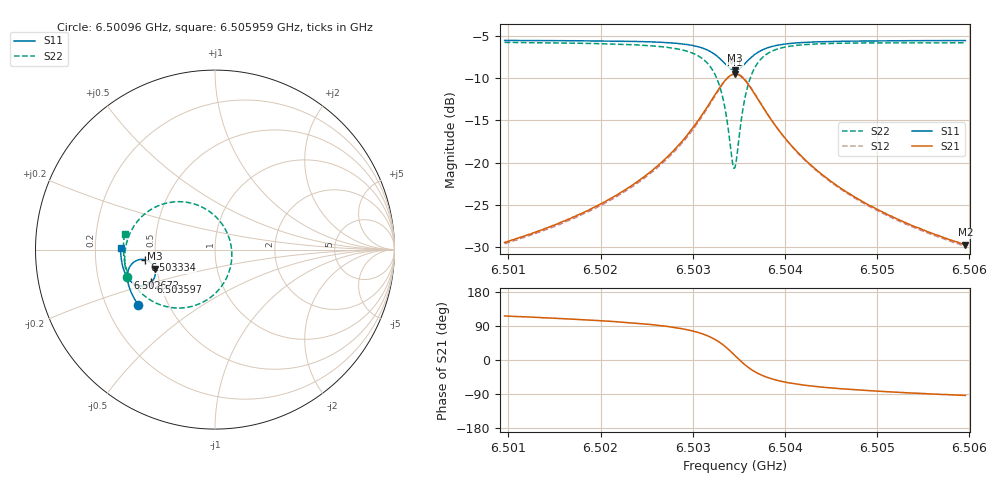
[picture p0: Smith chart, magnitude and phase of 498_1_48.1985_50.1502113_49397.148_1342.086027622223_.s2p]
#  HZ  S  RI  R  50.00
! Rohde & Schwarz Vector Network Analyzer
! Rohde-Schwarz,ZNB20-2Port,1311601062101988,3.16
! Created: UTC 3/20/2024, 11:58:20 AM
! freq[Hz]  re:S11  im:S11  re:S21  im:S21  re:S12  im:S12  re:S22  im:S22
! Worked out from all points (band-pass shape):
!   401 points, 6.50096 GHz to 6.505959 GHz, reference 50 ohm
!   highest |S21| = -9.54 dB at 6.503459 GHz (marker M1); lowest = -29.7 dB at 6.505959 GHz (marker M2)
!   |S21| within 3 dB of the highest: 6.50321 GHz to 6.50371 GHz (500 kHz wide, 0.00769 % of centre)
!   lowest |S11| = -9.1 dB at 6.503459 GHz (marker M3), VSWR 2.08, Z = 24.4 - j5.91 ohm
!   |S11| at or under -10 dB: nowhere
!   |S22| runs from -20.7 to -5.8 dB; largest |S21 - S12| = 0.011
!   S11 on the Smith chart (normalised r, x): 6.50096 GHz: 0.34, -0.29; 6.502672 GHz: 0.33, -0.14; 6.503334 GHz: 0.44, -0.06; 6.503597 GHz: 0.45, -0.19; 6.505959 GHz: 0.31, +0.01
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6.5009596e9  -0.4265 -0.3098  -0.0149 0.0302  -0.0133 0.0304  -0.4897 -0.1545
6.5017969e9  -0.4625 -0.2479  -0.0142 0.0481  -0.012 0.0476  -0.503 -0.0655
6.5022593e9  -0.4788 -0.2068  -0.0113 0.0676  -0.00831 0.0666  -0.4997 0.000494
6.5026343e9  -0.4876 -0.1651  -0.00216 0.0971  0.0013 0.095  -0.48 0.0759
6.5026718e9  -0.488 -0.1602  -0.000273 0.1014  0.00313 0.099  -0.4762 0.0852
6.5029467e9  -0.484 -0.1171  0.0265 0.1443  0.0301 0.1399  -0.4202 0.1714
6.5031342e9  -0.4623 -0.0788  0.0812 0.1867  0.0833 0.1807  -0.316 0.2443
6.5032467e9  -0.4295 -0.058  0.1509 0.2043  0.1513 0.1985  -0.1905 0.2668
6.5033341e9  -0.3885 -0.0563  0.231 0.188  0.2312 0.1837  -0.0519 0.226
6.5034341e9  -0.3418 -0.0912  0.3162 0.1  0.319 0.0958  0.082 0.0541
6.5034591e9  -0.3353 -0.106  0.3265 0.0671  0.3301 0.0623  0.0931 -0.00683
6.5034841e9  -0.3321 -0.1221  0.3303 0.0331  0.3341 0.027  0.0913 -0.0692
6.5035216e9  -0.3342 -0.1458  0.3232 -0.0163  0.3269 -0.0246  0.065 -0.1567
6.5035591e9  -0.3427 -0.1664  0.3042 -0.0591  0.3065 -0.0691  0.017 -0.2282
6.5035966e9  -0.3559 -0.1823  0.2778 -0.0923  0.2781 -0.1029  -0.0425 -0.2786
6.5037091e9  -0.4009 -0.2022  0.1923 -0.1373  0.1874 -0.1467  -0.2158 -0.3254
6.5038715e9  -0.4477 -0.1927  0.1095 -0.1339  0.1029 -0.139  -0.3648 -0.2781
6.5040465e9  -0.4753 -0.1713  0.0646 -0.1135  0.0586 -0.1157  -0.4378 -0.2124
6.5042965e9  -0.4962 -0.1413  0.0342 -0.0887  0.0297 -0.0893  -0.4814 -0.1398
6.5046589e9  -0.5115 -0.1033  0.0155 -0.0657  0.0123 -0.0655  -0.5037 -0.0667
6.5051338e9  -0.5214 -0.0591  0.00511 -0.0484  0.00291 -0.0478  -0.5103 0.00119
6.5059587e9  -0.5264 0.0108  -0.00199 -0.0326  -0.00334 -0.0319  -0.5027 0.0887
